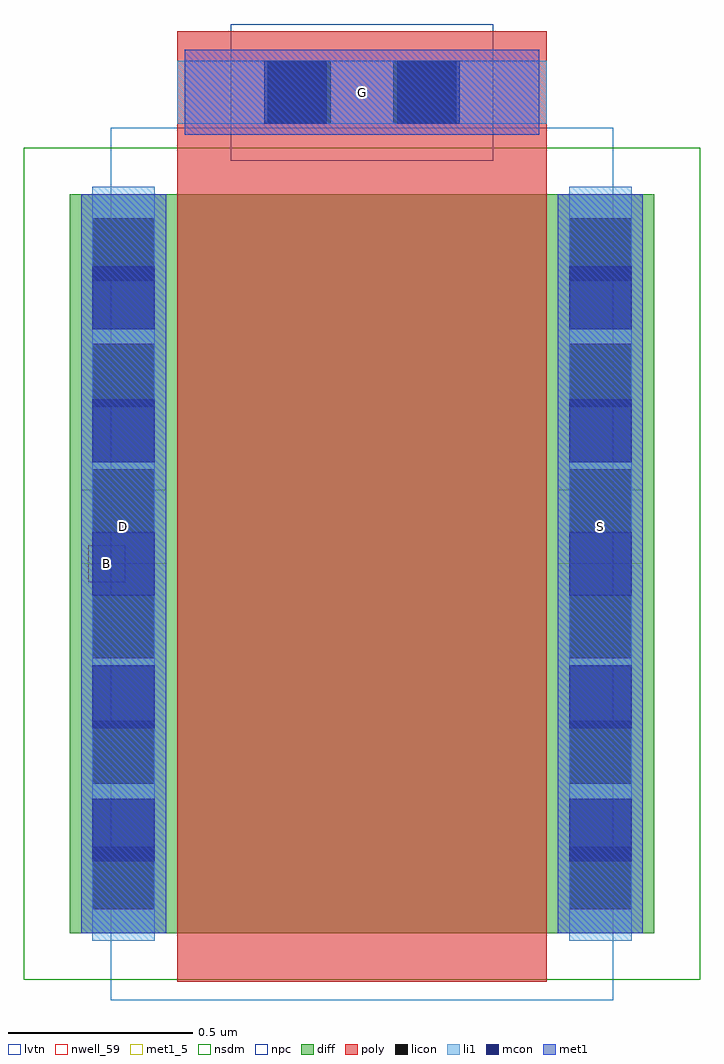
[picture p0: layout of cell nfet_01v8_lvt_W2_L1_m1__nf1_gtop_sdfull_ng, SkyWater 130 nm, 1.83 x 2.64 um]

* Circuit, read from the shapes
.subckt nfet_01v8_lvt_W2_L1_m1__nf1_gtop_sdfull_ng B D G S
XM1 S G D B sky130_fd_pr__nfet_01v8_lvt w=2 l=1
.ends

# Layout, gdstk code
import gdstk
lib = gdstk.Library(unit=1e-6, precision=1e-09)
def R(c, l, rs):  # rectangles x0, y0, x1, y1
    for r in rs: c.add(gdstk.rectangle(r[:2], r[2:], *l))
def A(c, l, x, y, w, h, nx, ny, dx, dy):  # array of equal rectangles
    R(c, l, [(x+i*dx, y+j*dy, x+i*dx+w, y+j*dy+h) for i in range(nx) for j in range(ny)])
nwell_59 = (64, 59)
diff = (65, 20)
poly = (66, 20)
licon = (66, 44)
li1 = (67, 20)
mcon = (67, 44)
met1_5 = (68, 5)
met1 = (68, 20)
nsdm = (93, 44)
npc = (95, 20)
lvtn = (125, 44)

sky130_fd_pr__nfet_01v8_ = lib.new_cell('sky130_fd_pr__nfet_01v8_lvt_U7GK5T')
R(sky130_fd_pr__nfet_01v8_, diff, [(-0.79,-1.155,0.79,0.845)])
R(sky130_fd_pr__nfet_01v8_, poly, [(-0.5,-1.285,0.5,1.285)])
A(sky130_fd_pr__nfet_01v8_, licon, -0.73, -1.09, 0.17, 0.17, 1, 6, 0, 0.34)
A(sky130_fd_pr__nfet_01v8_, licon, 0.56, -1.09, 0.17, 0.17, 1, 6, 0, 0.34)
R(sky130_fd_pr__nfet_01v8_, licon, [(-0.255,1.035,-0.085,1.205), (0.085,1.035,0.255,1.205)])
R(sky130_fd_pr__nfet_01v8_, li1, [(-0.73,-1.175,-0.56,0.865), (0.56,-1.175,0.73,0.865), (-0.5,1.035,0.5,1.205)])
A(sky130_fd_pr__nfet_01v8_, mcon, -0.73, -0.96, 0.17, 0.17, 1, 5, 0, 0.36)
A(sky130_fd_pr__nfet_01v8_, mcon, 0.56, -0.96, 0.17, 0.17, 1, 5, 0, 0.36)
R(sky130_fd_pr__nfet_01v8_, mcon, [(-0.265,1.035,-0.095,1.205), (0.095,1.035,0.265,1.205)])
R(sky130_fd_pr__nfet_01v8_, met1, [(-0.76,-1.155,-0.53,0.845), (0.53,-1.155,0.76,0.845), (-0.48,1.005,0.48,1.235)])
R(sky130_fd_pr__nfet_01v8_, nsdm, [(-0.915,-1.28,0.915,0.97)])
R(sky130_fd_pr__nfet_01v8_, npc, [(-0.355,0.935,0.355,1.305)])
R(sky130_fd_pr__nfet_01v8_, lvtn, [(-0.68,-1.335,0.68,1.025)])
sky130_fd_pr__nfet_01v8_.add(gdstk.Label('D', (-0.645,-0.155), layer=67, texttype=5))
sky130_fd_pr__nfet_01v8_.add(gdstk.Label('S', (0.645,-0.155), layer=67, texttype=5))
sky130_fd_pr__nfet_01v8_.add(gdstk.Label('G', (0,1.12), layer=67, texttype=5))

nfet_01v8_lvt_w2_l1_m1__ = lib.new_cell('nfet_01v8_lvt_W2_L1_m1__nf1_gtop_sdfull_ng')
R(nfet_01v8_lvt_w2_l1_m1__, nwell_59, [(0.05,1.08,0.15,1.18)])
R(nfet_01v8_lvt_w2_l1_m1__, met1_5, [(0.03,1.13,0.26,1.33), (1.32,1.13,1.55,1.33), (0.31,2.29,1.27,2.52)])
R(nfet_01v8_lvt_w2_l1_m1__, met1, [(0.03,1.13,0.26,1.33), (1.32,1.13,1.55,1.33), (0.31,2.29,1.27,2.52)])
nfet_01v8_lvt_w2_l1_m1__.add(gdstk.Reference(sky130_fd_pr__nfet_01v8_, (0.79,1.285)))
nfet_01v8_lvt_w2_l1_m1__.add(gdstk.Label('D', (0.145,1.23), layer=68, texttype=5))
nfet_01v8_lvt_w2_l1_m1__.add(gdstk.Label('S', (1.435,1.23), layer=68, texttype=5))
nfet_01v8_lvt_w2_l1_m1__.add(gdstk.Label('G', (0.79,2.405), layer=68, texttype=5))
nfet_01v8_lvt_w2_l1_m1__.add(gdstk.Label('B', (0.1,1.13), layer=64, texttype=59))

lib.write_gds('nfet_01v8_lvt_W2_L1_m1__nf1_gtop_sdfull_ng.gds')
